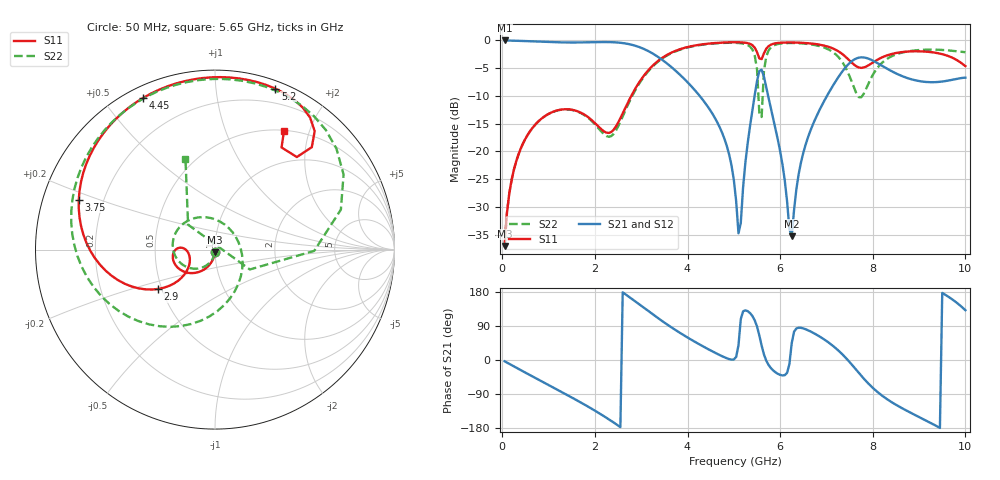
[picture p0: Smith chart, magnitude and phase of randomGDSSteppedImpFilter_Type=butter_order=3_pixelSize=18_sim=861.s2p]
! freq	dB(S11)	phase(S11)	dB(S12)	phase(S12)
!  dB(S21)	phase(S21)	dB(S22)	phase(S22)
!S-par simulation data
#  GHz  S  DB  R 50
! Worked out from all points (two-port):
!   200 points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, 50 MHz to 10 GHz, reference 50 ohm
!   highest |S21| = -0.01 dB at 50 MHz (marker M1); lowest = -35.3 dB at 6.25 GHz (marker M2)
!   |S21| within 3 dB of the highest: start of sweep to 3.37 GHz
!   lowest |S11| = -37.0 dB at 50 MHz (marker M3), VSWR 1.03, Z = 49.9 - j1.4 ohm
!   |S11| at or under -10 dB: start of sweep to 2.785 GHz
!   |S22| runs from -37.1 to -0.4 dB; largest |S21 - S12| = 0
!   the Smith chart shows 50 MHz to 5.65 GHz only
!   S11 on the Smith chart (normalised r, x): 50 MHz: 1.00, -0.03; 2.9 GHz: 0.48, -0.25; 3.75 GHz: 0.11, +0.18; 4.45 GHz: 0.05, +0.63; 5.2 GHz: 0.07, +1.44; 5.65 GHz: 0.51, +1.62
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0.05  -37.04 -92.4  -0.01 -3.4  -0.01 -3.4  -37.05 -93.2
0.55  -16.98 -122.5  -0.14 -36.7  -0.14 -36.7  -16.99 -131.8
1.75  -13.25 179.7  -0.35 -115.9  -0.35 -115.9  -13.34 128.4
2.9  -8.29 -145.3  -1.03 152.0  -1.03 152.0  -8.56 -94.7
3.4  -3.46 -176.0  -3.18 107.2  -3.18 107.2  -3.58 -152.9
3.75  -1.85 159.9  -5.52 78.3  -5.52 78.3  -1.94 173.7
4.45  -0.58 115.3  -12.07 28.3  -12.07 28.3  -0.64 117.9
5.05  -0.33 79.1  -28.96 8.1  -28.96 8.1  -0.44 72.7
5.1  -0.33 76.0  -34.74 38.6  -34.74 38.6  -0.47 68.4
5.2  -0.37 69.4  -26.43 128.5  -26.43 128.5  -0.57 58.9
5.45  -1.28 49.9  -9.88 105.1  -9.88 105.1  -2.66 17.6
5.55  -3.24 48.5  -5.53 65.2  -5.53 65.2  -13.01 -29.7
5.65  -2.32 59.9  -6.52 14.7  -6.52 14.7  -5.47 108.0
5.8  -0.77 49.4  -12.25 -21.3  -12.25 -21.3  -1.25 68.1
6.25  -0.37 20.1  -35.28 44.5  -35.28 44.5  -0.47 23.4
6.7  -0.58 -6.5  -15.28 72.6  -15.28 72.6  -0.76 -11.1
7.25  -1.93 -39.9  -6.70 25.8  -6.70 25.8  -2.92 -69.3
7.6  -4.40 -51.8  -3.44 -19.7  -3.44 -19.7  -8.66 -149.5
7.95  -4.26 -48.0  -3.43 -67.6  -3.43 -67.6  -7.01 77.6
8.35  -2.58 -63.4  -5.28 -106.8  -5.28 -106.8  -3.11 19.9
9.25  -2.10 -117.8  -7.52 -166.0  -7.52 -166.0  -1.65 -35.4
10  -4.63 150.3  -6.71 131.4  -6.71 131.4  -2.13 -61.2
